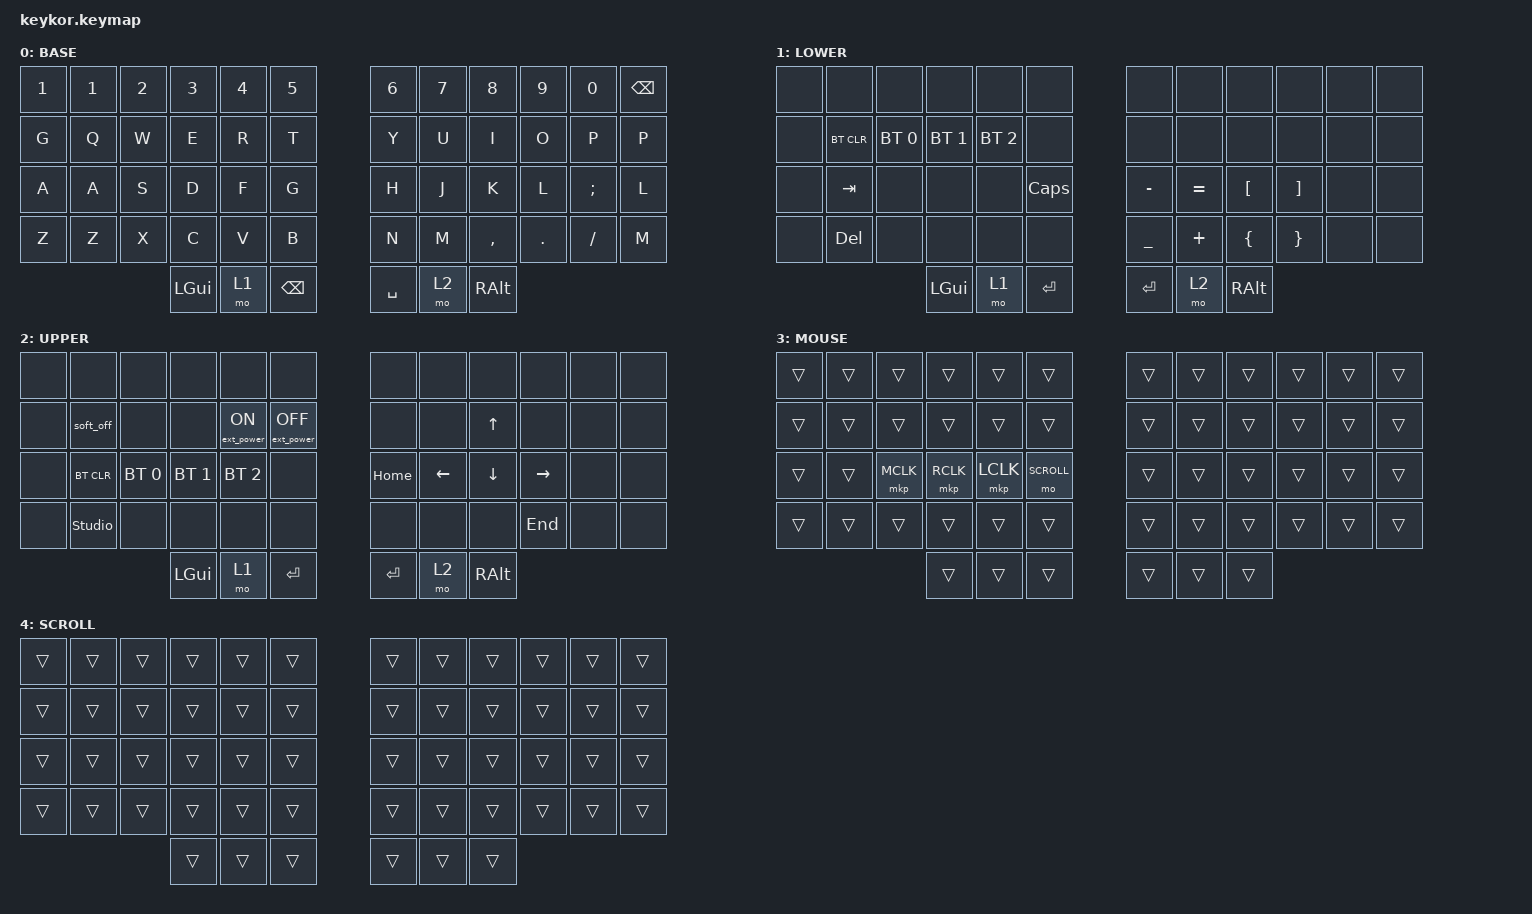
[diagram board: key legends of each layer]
#include <dt-bindings/zmk/keys.h>
#include <dt-bindings/zmk/bt.h>
#include <dt-bindings/zmk/ext_power.h>
#include <behaviors.dtsi>
#include <dt-bindings/zmk/pointing.h>
#include <input/processors.dtsi>
#include <dt-bindings/zmk/input_transform.h>

#define BASE 0
#define LOWER 1
#define UPPER 2
#define MOUSE 3
#define SCROLL 4

// Pad is mounted rotated 90 degrees: swap X/Y and invert both axes to correct it
#define TRACKPAD_ORIENT (INPUT_TRANSFORM_XY_SWAP | INPUT_TRANSFORM_X_INVERT | INPUT_TRANSFORM_Y_INVERT)



/  {

behaviours {
    
    hm: homerow_mods {
            compatible = "zmk,behavior-hold-tap";
            #binding-cells = <2>;
            tapping-term-ms = <200>;
            quick-tap-ms = <0>;
            flavor = "tap-preferred";
            bindings = <&kp>, <&kp>;
        };
};

keymap {
    compatible = "zmk,keymap";

default_layer {
display-name = "BASE"; 
// ------------------------------------------------------         ---------------------------------------------
// |  ESC-Q   |    W     |     E     |     R      |  T  |         |  Y  |      U      |     I     |  O  |  P  |
// ------------------------------------------------------         ---------------------------------------------
// |  LGUI-A  |  LALT-S  |  LCTRL-D  |  LSHIFT-F  |  G  |         |  H  |  LSHIFT-J   |  LCTRL-K  |  L  |  ;  |
// ------------------------------------------------------          --------------------------------------------
// |     Z    |     X    |     C     |     V      |  B  |         |  N  |      M      |     ,     |  .  |  /  |
// ------------------------------------------------------         ---------------------------------------------
//                                    | GUI | LWR | SPC |         | ENT | RSE  | ALT |
//                                    -------------------         --------------------

    bindings = <

    &kp N1 &kp N1     &kp N2        &kp N3         &kp N4        &kp N5               &kp N6     &kp N7        &kp N8         &kp N9   &kp N0   &kp BSPC
    &kp G &kp Q   &kp W         &kp E          &kp R         &kp T                &kp Y      &kp U         &kp I          &kp O    &kp P    &kp P
    &kp A &kp  A  &kp  S    &kp  D    &kp  F  &kp G                &kp H      &kp J  &kp  K    &kp L    &kp SEMI &kp L 
    &kp Z &kp Z       &kp X         &kp C          &kp V         &kp B                &kp N      &kp M         &kp COMMA      &kp DOT  &kp FSLH &kp M
                              &kp LGUI      &mo 1         &kp BSPC             &kp SPACE  &mo 2         &kp RALT
    >;
};


lower_layer {
 display-name = "LOWER"; 
// ---------------------------------------   --------------------------------
// |  1 !  |    2 @    | 3 # | 4 $ | 5 % |   | 6 ^ |  7 & | 8 * | 9   |  0  |
// ---------------------------------------   --------------------------------
// |  TAB  |  LGUI(E)  |     | PRNT| CAP |   |  -  |  =   | lbkt| rbkt| ' " |
// ---------------------------------------   --------------------------------
// | delete|           |     | PST | CAD |   |  _  |  +   | lbrc| rbrc|  |  |
// ---------------------------------------   --------------------------------
//                     | GUI | LWR | SPC |   | ENT | RSE  | ALT |
//                     -------------------   --------------------

    bindings = <

    &none &none &none &none &none &none                                                             &none &none &none &none &none &none 
    &none &bt BT_CLR      &bt BT_SEL 0     &bt BT_SEL 1     &bt BT_SEL 2        &none                                 &none           &none             &none             &none           &none  &none
    &none &kp TAB          &none       &none     &none    &kp CAPS                              &kp MINUS        &kp EQUAL         &kp LBKT         &kp RBKT        &none  &none
    &none &kp DEL          &none       &none     &none         &none                                 &kp UNDER        &kp PLUS          &kp LBRC         &kp RBRC        &none &none
                                 &kp LGUI  &mo 1         &kp RET                               &kp RET          &mo 2             &kp RALT
    >;
    };

raise_layer {
display-name = "UPPER"; 
// ---------------------------------   ----------------------------------------------
// | soft  |     |     | ext | ext |   |        |         |  UP    |         |delete|
// ---------------------------------   ----------------------------------------------
// |  CLR  | bt1 | bt2 | bt3 |     |   |  HOME  |  LEFT   |  DOWN  |  RIGHT  |      |
// ---------------------------------   ----------------------------------------------
// | stdulk|     |     |     |     |   |        |         |        |   END   |      |
// ---------------------------------   ----------------------------------------------
//               | GUI | LWR | SPC |   | ENT | RSE  | ALT | 
//               -------------------   --------------------

    bindings = <
    &none &none &none &none &none &none                                                                        &none &none &none &none &none &none 
    &none &soft_off       &none            &none            &ext_power EP_ON  &ext_power EP_OFF                &none      &none     &kp UP        &none        &none  &none 
    &none &bt BT_CLR      &bt BT_SEL 0     &bt BT_SEL 1     &bt BT_SEL 2      &none                            &kp HOME   &kp LEFT  &kp DOWN      &kp RIGHT    &none  &none 
    &none &studio_unlock  &none            &none            &none             &none                            &none      &none     &none         &kp END      &none  &none 
                                     &kp LGUI         &mo 1             &kp RET                          &kp RET    &mo 2     &kp RALT
    >;
    };


mouse_layer {
    display-name = "MOUSE";
    // Auto-activated by trackpad movement (see &trackpad_listener below).
    // Left half: S = middle click, D = right click, F = left click, G (hold) = scroll mode
    bindings = <
    &trans &trans &trans        &trans        &trans        &trans              &trans &trans &trans &trans &trans &trans
    &trans &trans &trans        &trans        &trans        &trans              &trans &trans &trans &trans &trans &trans
    &trans &trans &mkp MCLK     &mkp RCLK     &mkp LCLK     &mo SCROLL          &trans &trans &trans &trans &trans &trans
    &trans &trans &trans        &trans        &trans        &trans              &trans &trans &trans &trans &trans &trans
                                &trans        &trans        &trans              &trans &trans &trans
    >;
};

scroll_layer {
    display-name = "SCROLL";
    // Only exists so the listener can switch processors while it is active
    bindings = <
    &trans &trans &trans &trans &trans &trans   &trans &trans &trans &trans &trans &trans
    &trans &trans &trans &trans &trans &trans   &trans &trans &trans &trans &trans &trans
    &trans &trans &trans &trans &trans &trans   &trans &trans &trans &trans &trans &trans
    &trans &trans &trans &trans &trans &trans   &trans &trans &trans &trans &trans &trans
                  &trans &trans &trans          &trans &trans &trans
    >;
};

extra4 {
            status = "reserved";
        };

extra5 {
            status = "reserved";
        };    
        
extra6 {
            status = "reserved";
        };






};
};

&trackpad_listener {
    // Any trackpad activity switches on the mouse layer for 2 s after the last movement.
    // Cursor speed = &zip_xy_scaler <multiplier> <divisor>  (3 2 = 1.5x faster, 1 2 = half speed)
    input-processors = <&zip_xy_transform TRACKPAD_ORIENT &zip_xy_scaler 1 1 &zip_temp_layer MOUSE 600>;

    // While the scroll layer is active, pad movement becomes scrolling
    scroller {
        layers = <SCROLL>;
        input-processors = <&zip_xy_transform TRACKPAD_ORIENT &zip_xy_to_scroll_mapper &zip_scroll_scaler 1 16>;
    };
};
